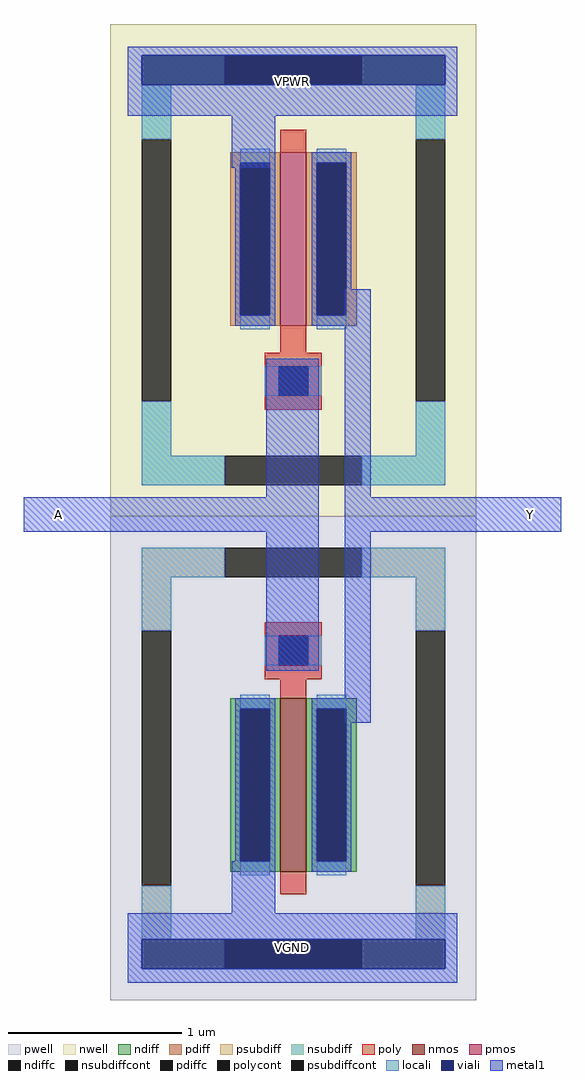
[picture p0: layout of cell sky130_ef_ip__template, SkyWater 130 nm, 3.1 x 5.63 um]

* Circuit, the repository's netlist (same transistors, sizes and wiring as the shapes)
* NGSPICE file created from sky130_ef_ip__template.ext - technology: sky130A

.subckt sky130_fd_pr__nfet_01v8_D5KUY4 a_15_n131# a_n175_n243# a_n33_91# a_n73_n131#
X0 a_15_n131# a_n33_91# a_n73_n131# a_n175_n243# sky130_fd_pr__nfet_01v8 ad=0.29 pd=2.58 as=0.29 ps=2.58 w=1 l=0.15
.ends

.subckt sky130_fd_pr__pfet_01v8_ZUW952 a_n73_n64# a_n33_n161# a_15_n64# w_n211_n284#
X0 a_15_n64# a_n33_n161# a_n73_n64# w_n211_n284# sky130_fd_pr__pfet_01v8 ad=0.29 pd=2.58 as=0.29 ps=2.58 w=1 l=0.15
.ends

.subckt sky130_ef_ip__template A Y VPWR VGND
XXM1 Y VGND A VGND sky130_fd_pr__nfet_01v8_D5KUY4
XXM2 VPWR A Y VPWR sky130_fd_pr__pfet_01v8_ZUW952
.ends

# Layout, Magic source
magic
tech sky130A
magscale 1 2
<< viali >>
rect 36 1056 386 1090
rect 36 36 386 70
<< metal1 >>
rect 20 1090 400 1100
rect 20 1056 36 1090
rect 386 1056 400 1090
rect 20 1020 400 1056
rect 140 960 190 1020
rect 180 580 240 740
rect -100 540 240 580
rect 180 380 240 540
rect 270 580 300 820
rect 270 540 520 580
rect 270 320 300 540
rect 140 100 190 160
rect 20 70 400 100
rect 20 36 36 70
rect 386 36 400 70
rect 20 20 400 36
use sky130_fd_pr__nfet_01v8_D5KUY4  XM1
transform 1 0 211 0 1 279
box -211 -279 211 279
use sky130_fd_pr__pfet_01v8_ZUW952  XM2
transform 1 0 211 0 1 842
box -211 -284 211 284
<< labels >>
flabel metal1 -100 540 -20 580 0 FreeSans 160 0 0 0 A
port 2 nsew
flabel metal1 450 540 520 580 0 FreeSans 160 0 0 0 Y
port 4 nsew
flabel metal1 20 1020 400 1100 0 FreeSans 160 0 0 0 VPWR
port 5 nsew
flabel metal1 20 20 400 100 0 FreeSans 160 0 0 0 VGND
port 7 nsew
<< end >>

# cell sky130_fd_pr__nfet_01v8_D5KUY4: kit device sky130_fd_pr__nfet_01v8, w 1.0 l 0.15 m 1 nf 1 diffcov 100 polycov 100 guard 1 glc 1 grc 1 gtc 1 gbc 1 tbcov 100 rlcov 100 topc 1 botc 0 poverlap 0 doverlap 1 lmin 0.15 wmin 0.42 class mosfet compatible {sky130_fd_pr__nfet_01v8 sky130_fd_pr__nfet_01v8_lvt sky130_fd_bs_flash__special_sonosfet_star sky130_fd_pr__nfet_g5v0d10v5 sky130_fd_pr__nfet_05v0_nvt sky130_fd_pr__nfet_03v3_nvt} full_metal 1 viasrc 100 viadrn 100 viagate 100 viagb 0 viagr 0 viagl 0 viagt 0

# cell sky130_fd_pr__pfet_01v8_ZUW952: kit device sky130_fd_pr__pfet_01v8, w 1.0 l 0.15 m 1 nf 1 diffcov 100 polycov 100 guard 1 glc 1 grc 1 gtc 1 gbc 1 tbcov 100 rlcov 100 topc 0 botc 1 poverlap 0 doverlap 1 lmin 0.15 wmin 0.42 class mosfet compatible {sky130_fd_pr__pfet_01v8 sky130_fd_pr__pfet_01v8_lvt sky130_fd_pr__pfet_01v8_hvt sky130_fd_pr__pfet_g5v0d10v5} full_metal 1 viasrc 100 viadrn 100 viagate 100 viagb 0 viagr 0 viagl 0 viagt 0
